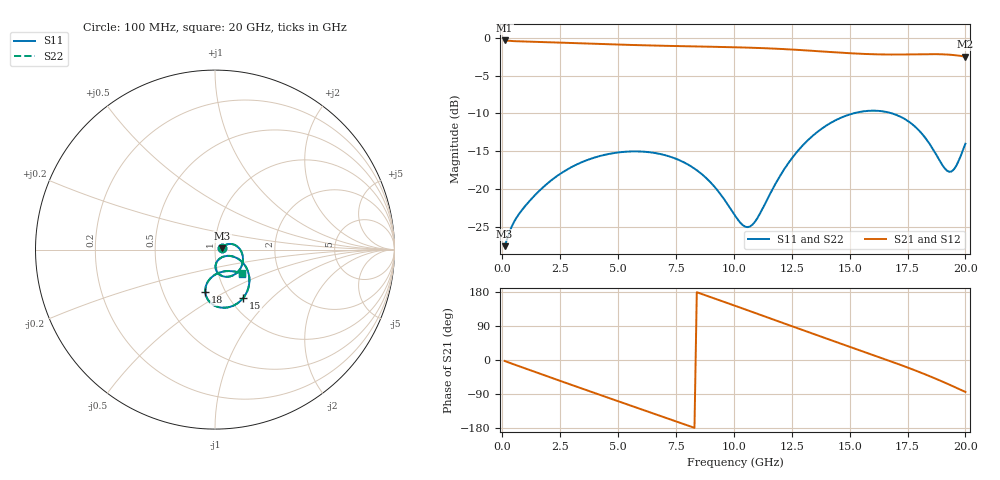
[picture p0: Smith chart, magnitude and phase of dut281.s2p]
! Touchstone file exported from HFSS 2026.1.0
!  File:  C:/ffzhzh/LocalFiles/Ansys_Project_Files/temp_train_TSV_RDL_281_1783085943_35048.aedt
!  Generated:  09:51:40 PM Jul  3, 2026
!  Design:  TSV_RDL
!  Project:  temp_train_TSV_RDL_281_1783085943_35048
! Variables:
!  h_bsmrdl = 3.37um
!  h_ox = 20um
!  h_rdl = 5um
!  h_sub = 96.17um
!  h_tmrdl = 5.18um
!  h_tsv = 96.17um
!  h_via = 3um
!  l_bsmrdl = 917.91um
!  l_sub = 6858.41um
!  l_tmrdl = 902.47um
!  m_sub = 200um
!  pitch = 22.63um
!  r_tsv = 4.11um
!  s_tmrdl = 10um
!  w_bsmrdl = 11.8um
!  w_sub = 500um
!  w_tmrdl = 19.8um
!  x_tsv_center1 = 912.37um
!  x_tsv_center2 = 1842.08um
!  x_tsv_center3 = 2764.35um
!  x_tsv_center4 = 3694.06um
!  x_tsv_center5 = 4616.33um
!  x_tsv_center6 = 5546.04um
# GHz S MA R 50.000000
! Terminal data exported
! Port[1] = TM_RDL1_1_T1
! Port[2] = TM_RDL5_1_T1
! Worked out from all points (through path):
!   200 points, 100 MHz to 20 GHz, reference 50 ohm
!   highest |S21| = -0.36 dB at 100 MHz (marker M1); lowest = -2.5 dB at 20 GHz (marker M2)
!   group delay of S21, straight-line fit = 60.5 ps
!   lowest |S11| = -27.5 dB at 100 MHz (marker M3), VSWR 1.09, Z = 54.3 + j0.817 ohm
!   |S11| at or under -10 dB: start of sweep to 15.16 GHz; 16.83 GHz to end of sweep
!   |S22| runs from -27.5 to -9.6 dB; largest |S21 - S12| = 1.6e-14
!   S11 on the Smith chart (normalised r, x): 100 MHz: 1.09, +0.02; 15 GHz: 1.16, -0.69; 18 GHz: 0.81, -0.41; 20 GHz: 1.29, -0.36
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0.1  0.04204 10.3  0.959 -2.5  0.959 -2.5  0.04204 10.3
! Gamma 0 0 0 0
! Port Impedance 50 0 50 0
0.7  0.06783 23.4  0.9465 -15.9  0.9465 -15.9  0.06763 23.7
2  0.1107 14.2  0.9334 -44.3  0.9334 -44.3  0.1106 14.3
3.5  0.1521 -8.0  0.9167 -76.7  0.9167 -76.7  0.152 -7.9
4.3  0.1668 -21.1  0.9081 -93.8  0.9081 -93.8  0.1667 -21.0
5.1  0.1754 -34.2  0.9 -110.8  0.9 -110.8  0.1753 -34.1
6.8  0.1709 -61.1  0.8855 -147.0  0.8855 -147.0  0.1709 -60.9
7.6  0.1565 -72.7  0.8801 -164.0  0.8801 -164.0  0.1565 -72.5
8.4  0.1334 -82.6  0.8752 178.8  0.8752 178.8  0.1334 -82.4
9.2  0.1023 -88.4  0.8704 161.6  0.8704 161.6  0.1023 -88.1
10.1  0.06522 -78.6  0.8643 142.1  0.8643 142.1  0.06535 -78.4
10.8  0.05822 -45.7  0.8582 126.8  0.8582 126.8  0.05832 -45.6
11.8  0.1086 -21.0  0.8464 104.8  0.8464 104.8  0.1086 -20.9
12.6  0.1668 -24.6  0.8339 87.2  0.8339 87.2  0.1668 -24.5
13.4  0.2247 -34.4  0.8192 69.6  0.8192 69.6  0.2246 -34.3
15  0.3112 -59.4  0.7899 35.0  0.7899 35.0  0.3112 -59.3
15.9  0.3295 -74.1  0.7786 15.7  0.7786 15.7  0.3295 -74.0
16.7  0.3205 -86.7  0.7743 -1.7  0.7743 -1.7  0.3205 -86.6
18  0.2437 -102.8  0.7775 -31.5  0.7775 -31.5  0.2436 -102.7
19.3  0.1302 -76.5  0.7727 -64.8  0.7727 -64.8  0.1297 -76.4
19.6  0.1422 -57.2  0.7652 -73.0  0.7652 -73.0  0.1417 -57.1
20  0.1994 -42.1  0.7487 -84.3  0.7487 -84.3  0.199 -41.9
